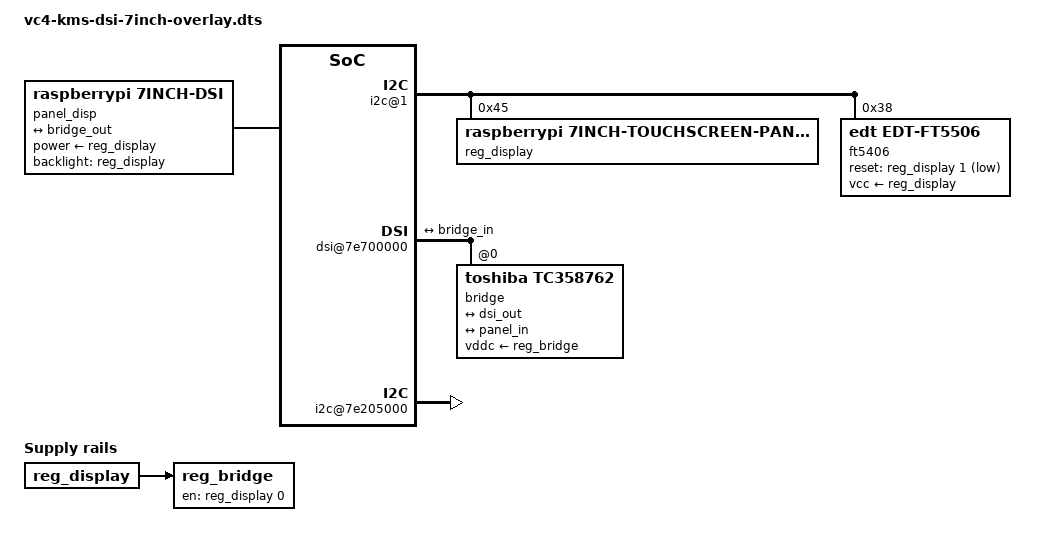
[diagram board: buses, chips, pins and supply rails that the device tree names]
/dts-v1/;
/plugin/;

/ {
	fragment@0 {
		target-path = "/soc/i2c0mux/i2c@1";
		__overlay__ {
			#address-cells = <1>;
			#size-cells = <0>;
			status = "okay";

			reg_display: reg_display@45 {
				compatible = "raspberrypi,7inch-touchscreen-panel-regulator";
				reg = <0x45>;
				gpio-controller;
				#gpio-cells = <2>;
			};
			ft5406: ts@38 {
				compatible = "edt,edt-ft5506";
				reg = <0x38>;
				touchscreen-size-x = <4096>;
                touchscreen-size-y = <4096>;
				touchscreen-inverted-x;
				touchscreen-inverted-y;
				vcc-supply = <&reg_display>;
				reset-gpio = <&reg_display 1 1>;
			};
		};
	};

	fragment@1 {
		target-path = "/soc/dsi@7e700000";
		__overlay__ {
			#address-cells = <1>;
			#size-cells = <0>;
			status = "okay";

			port {
				dsi_out: endpoint {
					remote-endpoint = <&bridge_in>;
				};
			};

			bridge@0 {
				reg = <0>;
				compatible = "toshiba,tc358762";
				vddc-supply = <&reg_bridge>;
				ports {
					#address-cells = <1>;
					#size-cells = <0>;

					port@0 {
						reg = <0>;
						bridge_in: endpoint {
							remote-endpoint = <&dsi_out>;
						};
					};

					port@1 {
						reg = <1>;
						bridge_out: endpoint {
							remote-endpoint = <&panel_in>;
						};
					};
				};
			};
		};
	};

	fragment@2 {
		target-path = "/";
		__overlay__ {
			panel_disp: panel_disp@1 {
				reg = <1>;
				compatible = "raspberrypi,7inch-dsi", "simple-panel";
				backlight = <&reg_display>;
				power-supply = <&reg_display>;

				port {
					panel_in: endpoint {
						remote-endpoint = <&bridge_out>;
					};
				};
			};

			reg_bridge: reg_bridge@1 {
				reg = <1>;
				compatible = "regulator-fixed";
				regulator-name = "bridge_reg";
				gpio = <&reg_display 0 0>;
				vin-supply = <&reg_display>;
				enable-active-high;
			};
		};
	};

	fragment@3 {
		target-path = "/soc/i2c@7e205000";
		__overlay__ {
			status = "okay";
		};
	};

	fragment@4 {
		target-path = "/soc/i2c0mux";
		__overlay__ {
			status = "okay";
		};
	};
};
